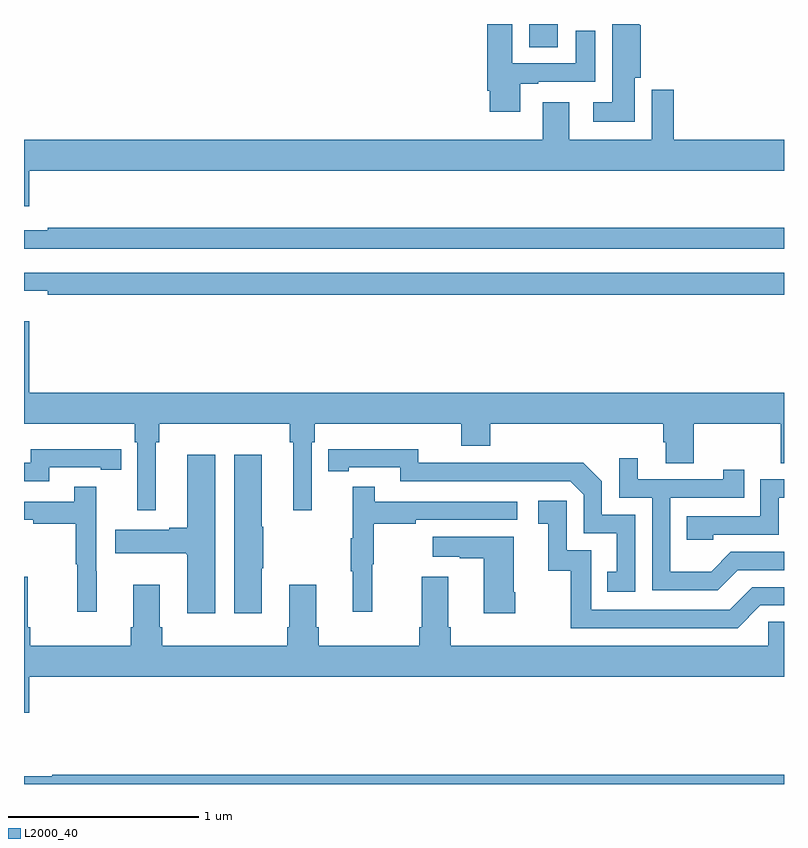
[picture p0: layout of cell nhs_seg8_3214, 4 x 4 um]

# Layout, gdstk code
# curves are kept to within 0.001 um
import gdstk
lib = gdstk.Library(unit=1e-6, precision=1e-09)
def R(c, l, rs):  # rectangles x0, y0, x1, y1
    for r in rs: c.add(gdstk.rectangle(r[:2], r[2:], *l))
def P(c, l, *ps):  # polygons
    for p in ps: c.add(gdstk.Polygon(p, *l))
L2000_40 = (2000, 40)

nhs_seg8_3214 = lib.new_cell('nhs_seg8_3214')
R(nhs_seg8_3214, L2000_40, [(311.66,1155.778,311.809,1155.9)])
P(nhs_seg8_3214, L2000_40, [(312.214,1155.618),(312.245,1155.618),(312.245,1155.893),(312.237,1155.9),(312.095,1155.9),(312.095,1155.487),(311.997,1155.487),(311.997,1155.386),(312.214,1155.386)],
  [(311.611,1155.585),(311.707,1155.585),(311.707,1155.597),(312.007,1155.597),(312.007,1155.865),(311.903,1155.865),(311.903,1155.693),(311.569,1155.693),(311.569,1155.9),(311.438,1155.9),(311.438,1155.55),(311.45,1155.55),(311.45,1155.438),(311.611,1155.438)],
  [(309.028,1155.128),(313,1155.128),(313,1155.292),(312.419,1155.292),(312.419,1155.553),(312.303,1155.553),(312.303,1155.292),(311.869,1155.292),(311.869,1155.487),(311.729,1155.487),(311.729,1155.292),(309,1155.292),(309,1154.94),(309.028,1154.94)],
  [(313,1154.827),(309.124,1154.827),(309.124,1154.814),(309,1154.814),(309,1154.718),(313,1154.718)],
  [(313,1154.592),(309,1154.592),(309,1154.495),(309.124,1154.495),(309.124,1154.476),(313,1154.476)],
  [(309.694,1153.7),(309.713,1153.7),(309.713,1153.796),(310.399,1153.796),(310.399,1153.7),(310.418,1153.7),(310.418,1153.341),(310.515,1153.341),(310.515,1153.7),(310.529,1153.7),(310.529,1153.796),(311.3,1153.796),(311.3,1153.679),(311.453,1153.679),(311.453,1153.796),(312.365,1153.796),(312.365,1153.698),(312.377,1153.698),(312.377,1153.588),(312.525,1153.588),(312.525,1153.796),(312.982,1153.796),(312.982,1153.588),(313,1153.588),(313,1153.96),(309.028,1153.96),(309.028,1154.335),(309,1154.335),(309,1153.796),(309.584,1153.796),(309.584,1153.7),(309.597,1153.7),(309.597,1153.341),(309.694,1153.341)],
  [(312.216,1153.317),(312.042,1153.317),(312.042,1153.494),(311.944,1153.592),(311.536,1153.592),(311.536,1153.59),(311.076,1153.59),(311.076,1153.663),(310.6,1153.662),(310.6,1153.546),(310.708,1153.546),(310.708,1153.566),(310.98,1153.566),(310.98,1153.494),(311.874,1153.494),(311.946,1153.422),(311.946,1153.221),(312.119,1153.221),(312.119,1153.017),(312.07,1153.017),(312.07,1152.912),(312.216,1152.912)],
  [(309.132,1153.566),(309.404,1153.566),(309.404,1153.554),(309.512,1153.554),(309.512,1153.662),(309.404,1153.662),(309.404,1153.663),(309.036,1153.663),(309.036,1153.59),(309,1153.59),(309,1153.494),(309.132,1153.494)],
  [(310.252,1153.036),(310.26,1153.036),(310.26,1153.253),(310.252,1153.253),(310.252,1153.633),(310.106,1153.633),(310.106,1152.798),(310.252,1152.798)],
  [(310.006,1153.633),(309.86,1153.633),(309.86,1153.25),(309.764,1153.25),(309.764,1153.237),(309.48,1153.237),(309.48,1153.115),(309.853,1153.115),(309.853,1153.108),(309.86,1153.108),(309.86,1152.798),(310.006,1152.798)],
  [(312.757,1153.026),(313,1153.026),(313,1153.122),(312.72,1153.122),(312.616,1153.018),(312.402,1153.018),(312.402,1153.407),(312.791,1153.407),(312.791,1153.555),(312.68,1153.555),(312.68,1153.503),(312.229,1153.503),(312.229,1153.615),(312.132,1153.615),(312.132,1153.407),(312.306,1153.407),(312.306,1152.921),(312.652,1152.921)],
  [(312.627,1153.212),(312.972,1153.212),(312.972,1153.407),(313,1153.407),(313,1153.503),(312.876,1153.503),(312.876,1153.308),(312.487,1153.308),(312.487,1153.185),(312.627,1153.185)],
  [(309.383,1153.019),(309.381,1153.019),(309.381,1153.465),(309.265,1153.465),(309.265,1153.386),(309,1153.386),(309,1153.29),(309.049,1153.29),(309.049,1153.27),(309.273,1153.27),(309.273,1153.056),(309.28,1153.056),(309.28,1152.807),(309.383,1152.807)],
  [(310.832,1153.056),(310.84,1153.056),(310.84,1153.27),(311.063,1153.27),(311.063,1153.29),(311.596,1153.29),(311.596,1153.386),(310.847,1153.386),(310.847,1153.465),(310.73,1153.465),(310.73,1153.193),(310.719,1153.193),(310.719,1153.019),(310.73,1153.019),(310.73,1152.807),(310.832,1152.807)],
  [(312.876,1152.84),(313,1152.84),(313,1152.936),(312.834,1152.936),(312.714,1152.816),(311.985,1152.816),(311.985,1153.131),(311.856,1153.131),(311.856,1153.39),(311.706,1153.39),(311.706,1153.269),(311.759,1153.269),(311.759,1153.023),(311.877,1153.023),(311.877,1152.72),(312.756,1152.72)],
  [(311.586,1152.91),(311.578,1152.91),(311.578,1153.201),(311.151,1153.201),(311.151,1153.097),(311.294,1153.097),(311.294,1153.087),(311.42,1153.087),(311.42,1152.798),(311.586,1152.798)],
  [(313,1152.755),(312.918,1152.755),(312.918,1152.628),(311.246,1152.628),(311.246,1152.724),(311.233,1152.724),(311.233,1152.991),(311.093,1152.991),(311.093,1152.724),(311.081,1152.724),(311.081,1152.628),(310.55,1152.628),(310.55,1152.724),(310.537,1152.724),(310.537,1152.949),(310.397,1152.949),(310.397,1152.724),(310.385,1152.724),(310.385,1152.628),(309.728,1152.628),(309.728,1152.724),(309.715,1152.724),(309.715,1152.949),(309.575,1152.949),(309.575,1152.724),(309.563,1152.724),(309.563,1152.628),(309.032,1152.628),(309.032,1152.724),(309.019,1152.724),(309.019,1152.991),(309,1152.991),(309,1152.276),(309.028,1152.276),(309.028,1152.464),(313,1152.464)],
  [(313,1151.948),(309.149,1151.948),(309.149,1151.941),(309,1151.941),(309,1151.9),(313,1151.9)])

lib.write_gds('nhs_seg8_3214.gds')
